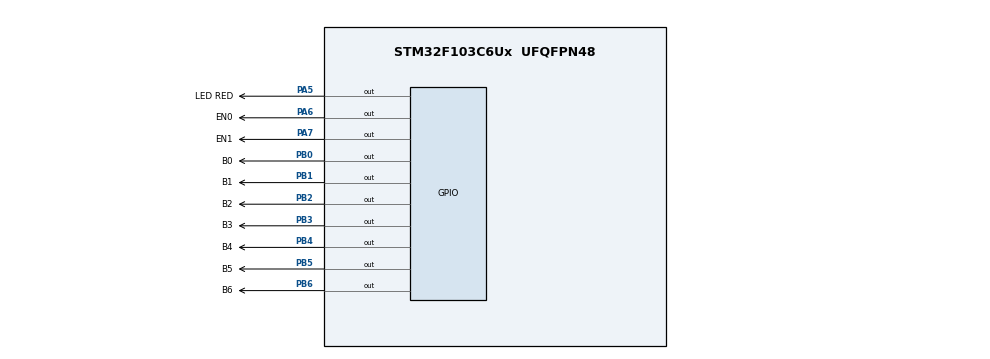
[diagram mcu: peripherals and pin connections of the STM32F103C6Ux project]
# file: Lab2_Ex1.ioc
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Mcu.Family=STM32F1
Mcu.Name=STM32F103C6Ux
Mcu.Package=UFQFPN48
NVIC.PriorityGroup=NVIC_PRIORITYGROUP_4
NVIC.TIM2_IRQn=true\:0\:0\:false\:false\:true\:true\:true
PA5.GPIO_Label=LED RED
PA5.Signal=GPIO_Output
PA6.GPIO_Label=EN0
PA6.Signal=GPIO_Output
PA7.GPIO_Label=EN1
PA7.Signal=GPIO_Output
PB0.GPIO_Label=B0
PB0.Signal=GPIO_Output
PB1.GPIO_Label=B1
PB1.Signal=GPIO_Output
PB2.GPIO_Label=B2
PB2.Signal=GPIO_Output
PB3.GPIO_Label=B3
PB3.Signal=GPIO_Output
PB4.GPIO_Label=B4
PB4.Signal=GPIO_Output
PB5.GPIO_Label=B5
PB5.Signal=GPIO_Output
PB6.GPIO_Label=B6
PB6.Signal=GPIO_Output
ProjectManager.HeapSize=0x200
ProjectManager.StackSize=0x400
ProjectManager.TargetToolchain=STM32CubeIDE
RCC.APB1Freq_Value=8000000
RCC.APB2Freq_Value=8000000
TIM2.Period=9
TIM2.Prescaler=7999
VP_SYS_VS_ND.Mode=No_Debug
VP_TIM2_VS_ClockSourceINT.Mode=Internal
board=custom

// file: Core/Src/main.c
/* USER CODE BEGIN Header */
/**
  ******************************************************************************
  * @file           : main.c
  * @brief          : Main program body
  ******************************************************************************
  * @attention
  *
  * <h2><center>&copy; Copyright (c) 2025 STMicroelectronics.
  * All rights reserved.</center></h2>
  *
  * This software component is licensed by ST under BSD 3-Clause license,
  * the "License"; You may not use this file except in compliance with the
  * License. You may obtain a copy of the License at:
  *                        opensource.org/licenses/BSD-3-Clause
  *
  ******************************************************************************
  */
/* USER CODE END Header */
#include "main.h"

/* USER CODE BEGIN Includes */
#include "software_timer.h"
/* USER CODE END Includes */

TIM_HandleTypeDef htim2;

/* USER CODE BEGIN PV */
int led_status;
/* USER CODE END PV */

void SystemClock_Config(void);
static void MX_GPIO_Init(void);
static void MX_TIM2_Init(void);
/* USER CODE BEGIN PFP */
void display7SEG(int num);
/* USER CODE END PFP */

int main(void)
{

  /* MCU Configuration--------------------------------------------------------*/

  /* Reset of all peripherals, Initializes the Flash interface and the Systick. */
  HAL_Init();

  /* Configure the system clock */
  SystemClock_Config();

  /* Initialize all configured peripherals */
  MX_GPIO_Init();
  MX_TIM2_Init();
  /* USER CODE BEGIN 2 */
  HAL_TIM_Base_Start_IT(&htim2);
  /* USER CODE END 2 */

  /* Infinite loop */
  /* USER CODE BEGIN WHILE */
  HAL_GPIO_WritePin(EN0_GPIO_Port, EN1_Pin, SET);
  HAL_GPIO_WritePin(EN1_GPIO_Port, EN0_Pin, SET);
  led_status = 0;
  setTimer(50);
  while (1)
  {
	  if (timer_flag == 1) {
		  //PA5 CHECK
		  HAL_GPIO_TogglePin(LED_RED_GPIO_Port, LED_RED_Pin);

		  //TO DO
		  if (led_status == 0) {
			  HAL_GPIO_WritePin(EN0_GPIO_Port, EN1_Pin, SET);
			  HAL_GPIO_WritePin(EN1_GPIO_Port, EN0_Pin, RESET);

			  display7SEG(1);
		  }

		  if (led_status == 1) {
			  HAL_GPIO_WritePin(EN1_GPIO_Port, EN0_Pin, SET);
			  HAL_GPIO_WritePin(EN0_GPIO_Port, EN1_Pin, RESET);

			  display7SEG(2);
		  }

		  //RESET
		  led_status ^= 1;
		  timer_flag = 0;
		  setTimer(50);
	  }
    /* USER CODE END WHILE */

  }
}

void SystemClock_Config(void)
{
  RCC_OscInitTypeDef RCC_OscInitStruct = {0};
  RCC_ClkInitTypeDef RCC_ClkInitStruct = {0};

  /** Initializes the RCC Oscillators according to the specified parameters
  * in the RCC_OscInitTypeDef structure.
  */
  RCC_OscInitStruct.OscillatorType = RCC_OSCILLATORTYPE_HSI;
  RCC_OscInitStruct.HSIState = RCC_HSI_ON;
  RCC_OscInitStruct.HSICalibrationValue = RCC_HSICALIBRATION_DEFAULT;
  RCC_OscInitStruct.PLL.PLLState = RCC_PLL_NONE;
  if (HAL_RCC_OscConfig(&RCC_OscInitStruct) != HAL_OK)
  {
    Error_Handler();
  }
  /** Initializes the CPU, AHB and APB buses clocks
  */
  RCC_ClkInitStruct.ClockType = RCC_CLOCKTYPE_HCLK|RCC_CLOCKTYPE_SYSCLK
                              |RCC_CLOCKTYPE_PCLK1|RCC_CLOCKTYPE_PCLK2;
  RCC_ClkInitStruct.SYSCLKSource = RCC_SYSCLKSOURCE_HSI;
  RCC_ClkInitStruct.AHBCLKDivider = RCC_SYSCLK_DIV1;
  RCC_ClkInitStruct.APB1CLKDivider = RCC_HCLK_DIV1;
  RCC_ClkInitStruct.APB2CLKDivider = RCC_HCLK_DIV1;

  if (HAL_RCC_ClockConfig(&RCC_ClkInitStruct, FLASH_LATENCY_0) != HAL_OK)
  {
    Error_Handler();
  }
}

static void MX_TIM2_Init(void)
{

  TIM_ClockConfigTypeDef sClockSourceConfig = {0};
  TIM_MasterConfigTypeDef sMasterConfig = {0};

  htim2.Instance = TIM2;
  htim2.Init.Prescaler = 7999;
  htim2.Init.CounterMode = TIM_COUNTERMODE_UP;
  htim2.Init.Period = 9;
  htim2.Init.ClockDivision = TIM_CLOCKDIVISION_DIV1;
  htim2.Init.AutoReloadPreload = TIM_AUTORELOAD_PRELOAD_DISABLE;
  if (HAL_TIM_Base_Init(&htim2) != HAL_OK)
  {
    Error_Handler();
  }
  sClockSourceConfig.ClockSource = TIM_CLOCKSOURCE_INTERNAL;
  if (HAL_TIM_ConfigClockSource(&htim2, &sClockSourceConfig) != HAL_OK)
  {
    Error_Handler();
  }
  sMasterConfig.MasterOutputTrigger = TIM_TRGO_RESET;
  sMasterConfig.MasterSlaveMode = TIM_MASTERSLAVEMODE_DISABLE;
  if (HAL_TIMEx_MasterConfigSynchronization(&htim2, &sMasterConfig) != HAL_OK)
  {
    Error_Handler();
  }

}

static void MX_GPIO_Init(void)
{
  GPIO_InitTypeDef GPIO_InitStruct = {0};

  /* GPIO Ports Clock Enable */
  __HAL_RCC_GPIOA_CLK_ENABLE();
  __HAL_RCC_GPIOB_CLK_ENABLE();

  /*Configure GPIO pin Output Level */
  HAL_GPIO_WritePin(GPIOA, LED_RED_Pin|EN0_Pin|EN1_Pin, GPIO_PIN_RESET);

  /*Configure GPIO pin Output Level */
  HAL_GPIO_WritePin(GPIOB, B0_Pin|B1_Pin|B2_Pin|B3_Pin
                          |B4_Pin|B5_Pin|B6_Pin, GPIO_PIN_RESET);

  /*Configure GPIO pins : LED_RED_Pin EN0_Pin EN1_Pin */
  GPIO_InitStruct.Pin = LED_RED_Pin|EN0_Pin|EN1_Pin;
  GPIO_InitStruct.Mode = GPIO_MODE_OUTPUT_PP;
  GPIO_InitStruct.Pull = GPIO_NOPULL;
  GPIO_InitStruct.Speed = GPIO_SPEED_FREQ_LOW;
  HAL_GPIO_Init(GPIOA, &GPIO_InitStruct);

  /*Configure GPIO pins : B0_Pin B1_Pin B2_Pin B3_Pin
                           B4_Pin B5_Pin B6_Pin */
  GPIO_InitStruct.Pin = B0_Pin|B1_Pin|B2_Pin|B3_Pin
                          |B4_Pin|B5_Pin|B6_Pin;
  GPIO_InitStruct.Mode = GPIO_MODE_OUTPUT_PP;
  GPIO_InitStruct.Pull = GPIO_NOPULL;
  GPIO_InitStruct.Speed = GPIO_SPEED_FREQ_LOW;
  HAL_GPIO_Init(GPIOB, &GPIO_InitStruct);

}

/* USER CODE BEGIN 4 */
void display7SEG(int num) {
	if (num == 0) {
		HAL_GPIO_WritePin(B0_GPIO_Port, B0_Pin, RESET);
		HAL_GPIO_WritePin(B1_GPIO_Port, B1_Pin, RESET);
		HAL_GPIO_WritePin(B2_GPIO_Port, B2_Pin, RESET);
		HAL_GPIO_WritePin(B3_GPIO_Port, B3_Pin, RESET);
		HAL_GPIO_WritePin(B4_GPIO_Port, B4_Pin, RESET);
		HAL_GPIO_WritePin(B5_GPIO_Port, B5_Pin, RESET);
		HAL_GPIO_WritePin(B6_GPIO_Port, B6_Pin, SET);
	}

	if (num == 1) {
		HAL_GPIO_WritePin(B0_GPIO_Port, B0_Pin, SET);
		HAL_GPIO_WritePin(B1_GPIO_Port, B1_Pin, RESET);
		HAL_GPIO_WritePin(B2_GPIO_Port, B2_Pin, RESET);
		HAL_GPIO_WritePin(B3_GPIO_Port, B3_Pin, SET);
		HAL_GPIO_WritePin(B4_GPIO_Port, B4_Pin, SET);
		HAL_GPIO_WritePin(B5_GPIO_Port, B5_Pin, SET);
		HAL_GPIO_WritePin(B6_GPIO_Port, B6_Pin, SET);
	}

	if (num == 2) {
		HAL_GPIO_WritePin(B0_GPIO_Port, B0_Pin, RESET);
		HAL_GPIO_WritePin(B1_GPIO_Port, B1_Pin, RESET);
		HAL_GPIO_WritePin(B2_GPIO_Port, B2_Pin, SET);
		HAL_GPIO_WritePin(B3_GPIO_Port, B3_Pin, RESET);
		HAL_GPIO_WritePin(B4_GPIO_Port, B4_Pin, RESET);
		HAL_GPIO_WritePin(B5_GPIO_Port, B5_Pin, SET);
		HAL_GPIO_WritePin(B6_GPIO_Port, B6_Pin, RESET);
	}

	if (num == 3) {
		HAL_GPIO_WritePin(B0_GPIO_Port, B0_Pin, RESET);
		HAL_GPIO_WritePin(B1_GPIO_Port, B1_Pin, RESET);
		HAL_GPIO_WritePin(B2_GPIO_Port, B2_Pin, RESET);
		HAL_GPIO_WritePin(B3_GPIO_Port, B3_Pin, RESET);
		HAL_GPIO_WritePin(B4_GPIO_Port, B4_Pin, SET);
		HAL_GPIO_WritePin(B5_GPIO_Port, B5_Pin, SET);
		HAL_GPIO_WritePin(B6_GPIO_Port, B6_Pin, RESET);
	}

	if (num == 4) {
		HAL_GPIO_WritePin(B0_GPIO_Port, B0_Pin, SET);
		HAL_GPIO_WritePin(B1_GPIO_Port, B1_Pin, RESET);
		HAL_GPIO_WritePin(B2_GPIO_Port, B2_Pin, RESET);
		HAL_GPIO_WritePin(B3_GPIO_Port, B3_Pin, SET);
		HAL_GPIO_WritePin(B4_GPIO_Port, B4_Pin, SET);
		HAL_GPIO_WritePin(B5_GPIO_Port, B5_Pin, RESET);
		HAL_GPIO_WritePin(B6_GPIO_Port, B6_Pin, RESET);
	}

	if (num == 5) {
		HAL_GPIO_WritePin(B0_GPIO_Port, B0_Pin, RESET);
		HAL_GPIO_WritePin(B1_GPIO_Port, B1_Pin, SET);
		HAL_GPIO_WritePin(B2_GPIO_Port, B2_Pin, RESET);
		HAL_GPIO_WritePin(B3_GPIO_Port, B3_Pin, RESET);
		HAL_GPIO_WritePin(B4_GPIO_Port, B4_Pin, SET);
		HAL_GPIO_WritePin(B5_GPIO_Port, B5_Pin, RESET);
		HAL_GPIO_WritePin(B6_GPIO_Port, B6_Pin, RESET);
	}

	if (num == 6) {
		HAL_GPIO_WritePin(B0_GPIO_Port, B0_Pin, RESET);
		HAL_GPIO_WritePin(B1_GPIO_Port, B1_Pin, SET);
		HAL_GPIO_WritePin(B2_GPIO_Port, B2_Pin, RESET);
		HAL_GPIO_WritePin(B3_GPIO_Port, B3_Pin, RESET);
		HAL_GPIO_WritePin(B4_GPIO_Port, B4_Pin, RESET);
		HAL_GPIO_WritePin(B5_GPIO_Port, B5_Pin, RESET);
		HAL_GPIO_WritePin(B6_GPIO_Port, B6_Pin, RESET);
	}

	if (num == 7) {
		HAL_GPIO_WritePin(B0_GPIO_Port, B0_Pin, RESET);
		HAL_GPIO_WritePin(B1_GPIO_Port, B1_Pin, RESET);
		HAL_GPIO_WritePin(B2_GPIO_Port, B2_Pin, RESET);
		HAL_GPIO_WritePin(B3_GPIO_Port, B3_Pin, SET);
		HAL_GPIO_WritePin(B4_GPIO_Port, B4_Pin, SET);
		HAL_GPIO_WritePin(B5_GPIO_Port, B5_Pin, SET);
		HAL_GPIO_WritePin(B6_GPIO_Port, B6_Pin, SET);
	}

	if (num == 8) {
		HAL_GPIO_WritePin(B0_GPIO_Port, B0_Pin, RESET);
		HAL_GPIO_WritePin(B1_GPIO_Port, B1_Pin, RESET);
		HAL_GPIO_WritePin(B2_GPIO_Port, B2_Pin, RESET);
		HAL_GPIO_WritePin(B3_GPIO_Port, B3_Pin, RESET);
		HAL_GPIO_WritePin(B4_GPIO_Port, B4_Pin, RESET);
		HAL_GPIO_WritePin(B5_GPIO_Port, B5_Pin, RESET);
		HAL_GPIO_WritePin(B6_GPIO_Port, B6_Pin, RESET);
	}

	if (num == 9) {
		HAL_GPIO_WritePin(B0_GPIO_Port, B0_Pin, RESET);
		HAL_GPIO_WritePin(B1_GPIO_Port, B1_Pin, RESET);
		HAL_GPIO_WritePin(B2_GPIO_Port, B2_Pin, RESET);
		HAL_GPIO_WritePin(B3_GPIO_Port, B3_Pin, RESET);
		HAL_GPIO_WritePin(B4_GPIO_Port, B4_Pin, SET);
		HAL_GPIO_WritePin(B5_GPIO_Port, B5_Pin, RESET);
		HAL_GPIO_WritePin(B6_GPIO_Port, B6_Pin, RESET);
	}
}

void HAL_TIM_PeriodElapsedCallback(TIM_HandleTypeDef *htim) {
	timerRun();
}
/* USER CODE END 4 */

void Error_Handler(void)
{
  __disable_irq();
  while (1)
  {
  }
}

/************************ (C) COPYRIGHT STMicroelectronics *****END OF FILE****/
